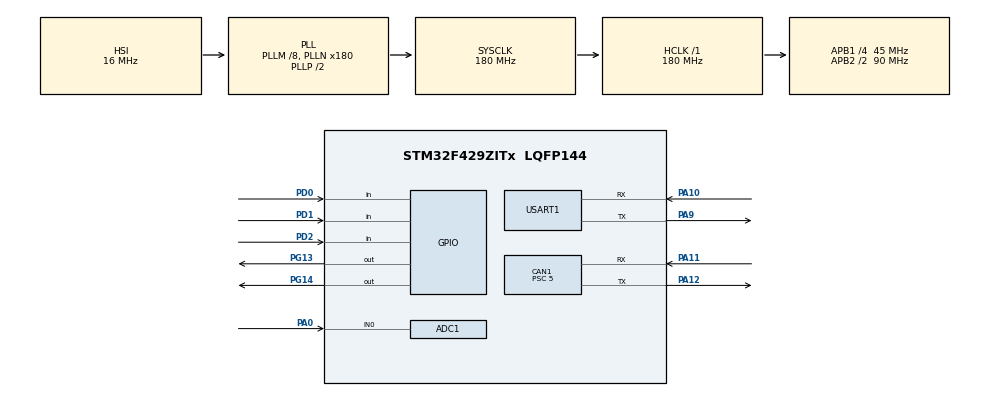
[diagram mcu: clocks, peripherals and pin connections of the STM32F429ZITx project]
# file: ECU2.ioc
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ADC1.Channel-0\#ChannelRegularConversion=ADC_CHANNEL_0
ADC1.NbrOfConversionFlag=1
ADC1.Rank-0\#ChannelRegularConversion=1
ADC1.SamplingTime-0\#ChannelRegularConversion=ADC_SAMPLETIME_3CYCLES
ADC1.master=1
CAN1.BS1=CAN_BS1_9TQ
CAN1.BS2=CAN_BS2_8TQ
CAN1.CalculateBaudRate=500000
CAN1.CalculateTimeBit=2000
CAN1.CalculateTimeQuantum=111.11111111111111
CAN1.NART=ENABLE
CAN1.Prescaler=5
Mcu.Family=STM32F4
Mcu.Name=STM32F429ZITx
Mcu.Package=LQFP144
NVIC.ADC_IRQn=true\:0\:0\:false\:false\:true\:true\:true\:true
NVIC.PriorityGroup=NVIC_PRIORITYGROUP_4
NVIC.TIM4_IRQn=true\:0\:0\:false\:false\:true\:true\:true\:true
PA0/WKUP.Signal=ADCx_IN0
PA10.Mode=Asynchronous
PA10.Signal=USART1_RX
PA11.Mode=CAN_Activate
PA11.Signal=CAN1_RX
PA12.Mode=CAN_Activate
PA12.Signal=CAN1_TX
PA9.Mode=Asynchronous
PA9.Signal=USART1_TX
PD0.Signal=GPIO_Input
PD1.Signal=GPIO_Input
PD2.Signal=GPIO_Input
PG13.Signal=GPIO_Output
PG14.Signal=GPIO_Output
ProjectManager.HeapSize=0x200
ProjectManager.StackSize=0x400
ProjectManager.TargetToolchain=STM32CubeIDE
RCC.48MHZClocksFreq_Value=90000000
RCC.AHBFreq_Value=180000000
RCC.APB1CLKDivider=RCC_HCLK_DIV4
RCC.APB1Freq_Value=45000000
RCC.APB1TimFreq_Value=90000000
RCC.APB2CLKDivider=RCC_HCLK_DIV2
RCC.APB2Freq_Value=90000000
RCC.APB2TimFreq_Value=180000000
RCC.CortexFreq_Value=180000000
RCC.HCLKFreq_Value=180000000
RCC.HSE_VALUE=25000000
RCC.HSI_VALUE=16000000
RCC.LSE_VALUE=32768
RCC.PLLM=8
RCC.PLLN=180
RCC.SYSCLKFreq_VALUE=180000000
RCC.SYSCLKSource=RCC_SYSCLKSOURCE_PLLCLK
RCC.VCOOutputFreq_Value=360000000
RTC.Date=28
RTC.Hours=10
RTC.Minutes=20
RTC.Month=RTC_MONTH_MARCH
RTC.WeekDay=RTC_WEEKDAY_MONDAY
RTC.Year=26
SH.ADCx_IN0.0=ADC1_IN0,IN0
TIM4.Period=9000-1
TIM4.Prescaler=10000-1
USART1.VirtualMode=VM_ASYNC
VP_RTC_VS_RTC_Activate.Mode=RTC_Enabled
VP_RTC_VS_RTC_Calendar.Mode=RTC_Calendar
VP_TIM4_VS_ClockSourceINT.Mode=Internal
board=custom

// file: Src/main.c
/* USER CODE BEGIN Header */
/**
 ******************************************************************************
 * @file           : main.c
 * @brief          : Main program body
 ******************************************************************************
 * @attention
 *
 * Copyright (c) 2026 STMicroelectronics.
 * All rights reserved.
 *
 * This software is licensed under terms that can be found in the LICENSE file
 * in the root directory of this software component.
 * If no LICENSE file comes with this software, it is provided AS-IS.
 *
 ******************************************************************************
 */
/* USER CODE END Header */
#include "main.h"

/* USER CODE BEGIN Includes */
#include<stdio.h>
#include<string.h>
/*==================== CAN MESSAGE IDs ==========================*/
/*------------CAN step1 ------------------------------*/
#define id_gear 0x401
#define id_rpm  0x501
#define id_time 0x601

uint8_t send_flag;
/* USER CODE END Includes */

ADC_HandleTypeDef hadc1;

CAN_HandleTypeDef hcan1;

RTC_HandleTypeDef hrtc;

TIM_HandleTypeDef htim4;

UART_HandleTypeDef huart1;

void SystemClock_Config(void);
static void MX_GPIO_Init(void);
static void MX_ADC1_Init(void);
static void MX_RTC_Init(void);
static void MX_USART1_UART_Init(void);
static void MX_CAN1_Init(void);
static void MX_TIM4_Init(void);

/* USER CODE BEGIN 0 */
/*================= CAN STRUCTURE =============================*/
//----------------------CAN Step 2 -----------------
CAN_TxHeaderTypeDef TxHeader;
uint32_t TxMailbox;
uint8_t TxData[8];

void can_transmitter(uint16_t id, uint8_t *data, uint8_t size) {
	if (HAL_CAN_GetTxMailboxesFreeLevel(&hcan1) > 0) {
		TxHeader.StdId = id;
		TxHeader.IDE = CAN_ID_STD;
		TxHeader.RTR = CAN_RTR_DATA;
		TxHeader.DLC = size;

		for (uint8_t i = 0; i < size; i++)
			TxData[i] = data[i];

		if (HAL_CAN_AddTxMessage(&hcan1, &TxHeader, TxData, &TxMailbox) == HAL_OK)
			HAL_GPIO_WritePin(GPIOG, GPIO_PIN_13, 1); //Tx Success Indicator
		else
			HAL_GPIO_WritePin(GPIOG, GPIO_PIN_13, 0); //Tx Fail Indicator
	}
}

//----------------------------------------------------------------
uint8_t *gear[] = { "ON", "GR", "GN", "G1", "G2", "G3", "G4", "_C" }; //2D array for gear
uint8_t Gear_pos;
uint8_t rpm;
//Buffers
uint32_t gear_buf[100];
uint32_t rpm_buf[100];
uint32_t time_buf[100];

/*===============  Gear Reading ====================== */
uint8_t read_digital_keypad(void) {
	static uint8_t pin1 = 1, pin2 = 1, pin3 = 1, once1 = 1, once2 = 1,
			once3 = 1;
	pin1 = HAL_GPIO_ReadPin(GPIOD, GPIO_PIN_0);
	pin2 = HAL_GPIO_ReadPin(GPIOD, GPIO_PIN_1);
	pin3 = HAL_GPIO_ReadPin(GPIOD, GPIO_PIN_2);

	if (pin1 == 0 && once1) {
		once1 = 0;
		return 1;
	} else if (pin1 == 1)
		once1 = 1;
	if (pin2 == 0 && once2) {
		once2 = 0;
		return 2;
	} else if (pin2 == 1)
		once2 = 1;
	if (pin3 == 0 && once3) {
		once3 = 0;
		return 0;
	} else if (pin3 == 1)
		once3 = 1;

	else
		return 3;
}

/*================  CAR RPM ===========================*/
uint8_t rpm_value[1];
void Engine_RPM(void) {
	sprintf(rpm_buf, "RPM = %d  ", rpm);
	rpm_value[0] = rpm;
}

/*================  Time and Date =======================*/
RTC_TimeTypeDef Time;
RTC_DateTypeDef Date;

uint8_t time_value[9];
void date(void) {
	HAL_RTC_GetDate(&hrtc, &Date, RTC_FORMAT_BIN);
	HAL_RTC_GetTime(&hrtc, &Time, RTC_FORMAT_BIN);
	//sprintf(time_buf, "%02d:%02d:%02d,%02d-%02d-%02d\r\n", Time.Hours, Time.Minutes, Time.Seconds, Date.Date, Date.Month, 2000 + Date.Year);
	sprintf(time_buf,"%02d:%02d:%02d\r\n",Time.Hours, Time.Minutes, Time.Seconds); //sending only time
	strncpy(time_value, time_buf,8);
}

/* USER CODE END 0 */

int main(void)
{

  /* MCU Configuration--------------------------------------------------------*/

  /* Reset of all peripherals, Initializes the Flash interface and the Systick. */
  HAL_Init();

  /* Configure the system clock */
  SystemClock_Config();

  /* Initialize all configured peripherals */
  MX_GPIO_Init();
  MX_ADC1_Init();
  MX_RTC_Init();
  MX_USART1_UART_Init();
  MX_CAN1_Init();
  MX_TIM4_Init();

  /* Infinite loop */
  /* USER CODE BEGIN WHILE */
  //Manually setting the current time & date to start RTC
	Time.Hours = 10;
	Time.Minutes = 30;
	Time.Seconds = 0;

	Date.Date = 02;
	Date.Month = 03;
	Date.Year = 26;

	HAL_RTC_SetTime(&hrtc, &Time, RTC_FORMAT_BIN);
	HAL_RTC_SetDate(&hrtc, &Date, RTC_FORMAT_BIN);

	uint8_t key;
	uint8_t gear_val[3];

	// ----------CAN step 3-----
	if(HAL_CAN_Start(&hcan1) == HAL_OK)
		HAL_GPIO_WritePin(GPIOG, GPIO_PIN_14, 0); //Tx success
	else
		HAL_GPIO_WritePin(GPIOG, GPIO_PIN_14, 1); //Tx fail

	HAL_ADC_Start_IT(&hadc1);		//Start ADC in Interrupt mode
	HAL_TIM_Base_Start_IT(&htim4);	//Start tim peripheral

	while (1) {
		//Gear Position
		key = read_digital_keypad();
		if (key == 1) {
			if (Gear_pos == 7)
				Gear_pos = 1;
			if (Gear_pos < 7)
				Gear_pos++;
		} else if (key == 2) {
			if (Gear_pos > 0)
				Gear_pos--;
		} else if (key == 0) {
			Gear_pos = 7;
		}
		strcpy(gear_val, gear[Gear_pos]);//Gear_pos;
		sprintf(gear_buf, "Gear = %s ", gear[Gear_pos]);

		//Engine RPM
		Engine_RPM();

		//RTC (Real Time Clock)
		date();

		//Transmitting through  UART
		HAL_UART_Transmit(&huart1, gear_buf, strlen(gear_buf), HAL_MAX_DELAY);
		HAL_UART_Transmit(&huart1, rpm_buf, strlen(rpm_buf), HAL_MAX_DELAY);
		HAL_UART_Transmit(&huart1, time_buf, strlen(time_buf), HAL_MAX_DELAY);

		//----------------------CAN step 4 --------------------------------
		//CAN Transmission
		if(send_flag)
		{
			send_flag = 0;
			HAL_GPIO_TogglePin(GPIOG, GPIO_PIN_14);
			can_transmitter(id_gear, gear_val, 2);
			can_transmitter(id_rpm, rpm_value, 1);
			can_transmitter(id_time, time_value, 8);
		}
    /* USER CODE END WHILE */

	}
}

void SystemClock_Config(void)
{
  RCC_OscInitTypeDef RCC_OscInitStruct = {0};
  RCC_ClkInitTypeDef RCC_ClkInitStruct = {0};

  /** Configure the main internal regulator output voltage
  */
  __HAL_RCC_PWR_CLK_ENABLE();
  __HAL_PWR_VOLTAGESCALING_CONFIG(PWR_REGULATOR_VOLTAGE_SCALE1);

  /** Initializes the RCC Oscillators according to the specified parameters
  * in the RCC_OscInitTypeDef structure.
  */
  RCC_OscInitStruct.OscillatorType = RCC_OSCILLATORTYPE_HSI|RCC_OSCILLATORTYPE_LSI;
  RCC_OscInitStruct.HSIState = RCC_HSI_ON;
  RCC_OscInitStruct.HSICalibrationValue = RCC_HSICALIBRATION_DEFAULT;
  RCC_OscInitStruct.LSIState = RCC_LSI_ON;
  RCC_OscInitStruct.PLL.PLLState = RCC_PLL_ON;
  RCC_OscInitStruct.PLL.PLLSource = RCC_PLLSOURCE_HSI;
  RCC_OscInitStruct.PLL.PLLM = 8;
  RCC_OscInitStruct.PLL.PLLN = 180;
  RCC_OscInitStruct.PLL.PLLP = RCC_PLLP_DIV2;
  RCC_OscInitStruct.PLL.PLLQ = 4;
  if (HAL_RCC_OscConfig(&RCC_OscInitStruct) != HAL_OK)
  {
    Error_Handler();
  }

  /** Activate the Over-Drive mode
  */
  if (HAL_PWREx_EnableOverDrive() != HAL_OK)
  {
    Error_Handler();
  }

  /** Initializes the CPU, AHB and APB buses clocks
  */
  RCC_ClkInitStruct.ClockType = RCC_CLOCKTYPE_HCLK|RCC_CLOCKTYPE_SYSCLK
                              |RCC_CLOCKTYPE_PCLK1|RCC_CLOCKTYPE_PCLK2;
  RCC_ClkInitStruct.SYSCLKSource = RCC_SYSCLKSOURCE_PLLCLK;
  RCC_ClkInitStruct.AHBCLKDivider = RCC_SYSCLK_DIV1;
  RCC_ClkInitStruct.APB1CLKDivider = RCC_HCLK_DIV4;
  RCC_ClkInitStruct.APB2CLKDivider = RCC_HCLK_DIV2;

  if (HAL_RCC_ClockConfig(&RCC_ClkInitStruct, FLASH_LATENCY_5) != HAL_OK)
  {
    Error_Handler();
  }
}

static void MX_ADC1_Init(void)
{

  ADC_ChannelConfTypeDef sConfig = {0};

  /** Configure the global features of the ADC (Clock, Resolution, Data Alignment and number of conversion)
  */
  hadc1.Instance = ADC1;
  hadc1.Init.ClockPrescaler = ADC_CLOCK_SYNC_PCLK_DIV4;
  hadc1.Init.Resolution = ADC_RESOLUTION_12B;
  hadc1.Init.ScanConvMode = DISABLE;
  hadc1.Init.ContinuousConvMode = DISABLE;
  hadc1.Init.DiscontinuousConvMode = DISABLE;
  hadc1.Init.ExternalTrigConvEdge = ADC_EXTERNALTRIGCONVEDGE_NONE;
  hadc1.Init.ExternalTrigConv = ADC_SOFTWARE_START;
  hadc1.Init.DataAlign = ADC_DATAALIGN_RIGHT;
  hadc1.Init.NbrOfConversion = 1;
  hadc1.Init.DMAContinuousRequests = DISABLE;
  hadc1.Init.EOCSelection = ADC_EOC_SINGLE_CONV;
  if (HAL_ADC_Init(&hadc1) != HAL_OK)
  {
    Error_Handler();
  }

  /** Configure for the selected ADC regular channel its corresponding rank in the sequencer and its sample time.
  */
  sConfig.Channel = ADC_CHANNEL_0;
  sConfig.Rank = 1;
  sConfig.SamplingTime = ADC_SAMPLETIME_3CYCLES;
  if (HAL_ADC_ConfigChannel(&hadc1, &sConfig) != HAL_OK)
  {
    Error_Handler();
  }

}

static void MX_CAN1_Init(void)
{

  hcan1.Instance = CAN1;
  hcan1.Init.Prescaler = 5;
  hcan1.Init.Mode = CAN_MODE_NORMAL;
  hcan1.Init.SyncJumpWidth = CAN_SJW_1TQ;
  hcan1.Init.TimeSeg1 = CAN_BS1_9TQ;
  hcan1.Init.TimeSeg2 = CAN_BS2_8TQ;
  hcan1.Init.TimeTriggeredMode = DISABLE;
  hcan1.Init.AutoBusOff = DISABLE;
  hcan1.Init.AutoWakeUp = DISABLE;
  hcan1.Init.AutoRetransmission = ENABLE;
  hcan1.Init.ReceiveFifoLocked = DISABLE;
  hcan1.Init.TransmitFifoPriority = DISABLE;
  if (HAL_CAN_Init(&hcan1) != HAL_OK)
  {
    Error_Handler();
  }

}

static void MX_RTC_Init(void)
{

  RTC_TimeTypeDef sTime = {0};
  RTC_DateTypeDef sDate = {0};

  /** Initialize RTC Only
  */
  hrtc.Instance = RTC;
  hrtc.Init.HourFormat = RTC_HOURFORMAT_24;
  hrtc.Init.AsynchPrediv = 127;
  hrtc.Init.SynchPrediv = 255;
  hrtc.Init.OutPut = RTC_OUTPUT_DISABLE;
  hrtc.Init.OutPutPolarity = RTC_OUTPUT_POLARITY_HIGH;
  hrtc.Init.OutPutType = RTC_OUTPUT_TYPE_OPENDRAIN;
  if (HAL_RTC_Init(&hrtc) != HAL_OK)
  {
    Error_Handler();
  }

  /** Initialize RTC and set the Time and Date
  */
  sTime.Hours = 0x10;
  sTime.Minutes = 0x20;
  sTime.Seconds = 0x0;
  sTime.DayLightSaving = RTC_DAYLIGHTSAVING_NONE;
  sTime.StoreOperation = RTC_STOREOPERATION_RESET;
  if (HAL_RTC_SetTime(&hrtc, &sTime, RTC_FORMAT_BCD) != HAL_OK)
  {
    Error_Handler();
  }
  sDate.WeekDay = RTC_WEEKDAY_MONDAY;
  sDate.Month = RTC_MONTH_MARCH;
  sDate.Date = 0x28;
  sDate.Year = 0x26;

  if (HAL_RTC_SetDate(&hrtc, &sDate, RTC_FORMAT_BCD) != HAL_OK)
  {
    Error_Handler();
  }

}

static void MX_TIM4_Init(void)
{

  TIM_ClockConfigTypeDef sClockSourceConfig = {0};
  TIM_MasterConfigTypeDef sMasterConfig = {0};

  htim4.Instance = TIM4;
  htim4.Init.Prescaler = 10000-1;
  htim4.Init.CounterMode = TIM_COUNTERMODE_UP;
  htim4.Init.Period = 9000-1;
  htim4.Init.ClockDivision = TIM_CLOCKDIVISION_DIV1;
  htim4.Init.AutoReloadPreload = TIM_AUTORELOAD_PRELOAD_DISABLE;
  if (HAL_TIM_Base_Init(&htim4) != HAL_OK)
  {
    Error_Handler();
  }
  sClockSourceConfig.ClockSource = TIM_CLOCKSOURCE_INTERNAL;
  if (HAL_TIM_ConfigClockSource(&htim4, &sClockSourceConfig) != HAL_OK)
  {
    Error_Handler();
  }
  sMasterConfig.MasterOutputTrigger = TIM_TRGO_RESET;
  sMasterConfig.MasterSlaveMode = TIM_MASTERSLAVEMODE_DISABLE;
  if (HAL_TIMEx_MasterConfigSynchronization(&htim4, &sMasterConfig) != HAL_OK)
  {
    Error_Handler();
  }

}

static void MX_USART1_UART_Init(void)
{

  huart1.Instance = USART1;
  huart1.Init.BaudRate = 115200;
  huart1.Init.WordLength = UART_WORDLENGTH_8B;
  huart1.Init.StopBits = UART_STOPBITS_1;
  huart1.Init.Parity = UART_PARITY_NONE;
  huart1.Init.Mode = UART_MODE_TX_RX;
  huart1.Init.HwFlowCtl = UART_HWCONTROL_NONE;
  huart1.Init.OverSampling = UART_OVERSAMPLING_16;
  if (HAL_UART_Init(&huart1) != HAL_OK)
  {
    Error_Handler();
  }

}

static void MX_GPIO_Init(void)
{
  GPIO_InitTypeDef GPIO_InitStruct = {0};

  /* GPIO Ports Clock Enable */
  __HAL_RCC_GPIOA_CLK_ENABLE();
  __HAL_RCC_GPIOD_CLK_ENABLE();
  __HAL_RCC_GPIOG_CLK_ENABLE();

  /*Configure GPIO pin Output Level */
  HAL_GPIO_WritePin(GPIOG, GPIO_PIN_13|GPIO_PIN_14, GPIO_PIN_RESET);

  /*Configure GPIO pins : PD0 PD1 PD2 */
  GPIO_InitStruct.Pin = GPIO_PIN_0|GPIO_PIN_1|GPIO_PIN_2;
  GPIO_InitStruct.Mode = GPIO_MODE_INPUT;
  GPIO_InitStruct.Pull = GPIO_NOPULL;
  HAL_GPIO_Init(GPIOD, &GPIO_InitStruct);

  /*Configure GPIO pins : PG13 PG14 */
  GPIO_InitStruct.Pin = GPIO_PIN_13|GPIO_PIN_14;
  GPIO_InitStruct.Mode = GPIO_MODE_OUTPUT_PP;
  GPIO_InitStruct.Pull = GPIO_NOPULL;
  GPIO_InitStruct.Speed = GPIO_SPEED_FREQ_LOW;
  HAL_GPIO_Init(GPIOG, &GPIO_InitStruct);

}

void Error_Handler(void)
{
	__disable_irq();
	while (1) {
	}
}
